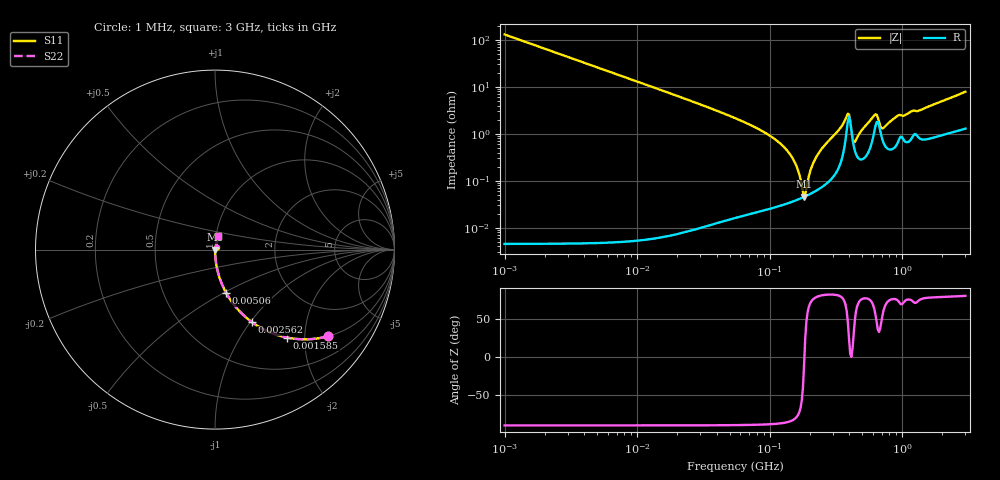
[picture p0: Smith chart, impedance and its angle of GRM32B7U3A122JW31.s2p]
!Murata Part Number: GRM32B7U3A122JW31
!These Parameters are Measured in Series Mode Connection
!Data Generated on Mar 30, 2021
!  o--ll--o
!Port1  Port2
!  o------o
!Operation Temp=25[degC], DC Bias Voltage=0[V]
!Freq. Start=1000[kHz] Stop=3[GHz] 401[Steps]
# Hz S RI R 50
!Freq.(Hz) S11(Real) S11(Imag) S21(Real) S21(Imag) S12(Real) S12(Imag) S22(Real) S22(Imag)
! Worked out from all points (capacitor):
!   401 points, 1 MHz to 3 GHz, reference 50 ohm
!   read as one part in series: C = 1.22 nF near 1.041 MHz
!   lowest |Z| = 46.1 mohm at 182 MHz (marker M1)
!   series resonance near 182.9 MHz, so ESL is about 620 pH
!   S11 on the Smith chart (normalised r, x): 1 MHz: 1.00, -2.60; 1.585 MHz: 1.00, -1.64; 2.562 MHz: 1.00, -1.02; 5.06 MHz: 1.00, -0.51; 3 GHz: 1.03, +0.16
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1000000  0.6289 -0.4831  0.3711 0.4831  0.3711 0.4831  0.6289 -0.4831
1584654  0.4029 -0.4904  0.5971 0.4904  0.5971 0.4904  0.4029 -0.4904
2561897  0.2052 -0.4038  0.7948 0.4038  0.7948 0.4038  0.2052 -0.4038
3823119  0.1038 -0.305  0.8962 0.305  0.8962 0.305  0.1038 -0.305
5059610  0.062 -0.2411  0.938 0.2411  0.938 0.2411  0.062 -0.2411
1.461624e7  0.00783 -0.0878  0.9922 0.0878  0.9922 0.0878  0.00783 -0.0878
5.477226e7  0.000629 -0.0216  0.9994 0.0216  0.9994 0.0216  0.000629 -0.0216
9.402997e7  0.000346 -0.0102  0.9997 0.0102  0.9997 0.0102  0.000346 -0.0102
1.295243e8  0.00034 -0.00508  0.9997 0.00508  0.9997 0.00508  0.00034 -0.00508
1.550909e8  0.000382 -0.00241  0.9996 0.00241  0.9996 0.00241  0.000382 -0.00241
1.820241e8  0.000454 -7.37e-05  0.9995 7.37e-05  0.9995 7.37e-05  0.000454 -7.37e-05
1.894586e8  0.000479 0.000518  0.9995 -0.000518  0.9995 -0.000518  0.000479 0.000518
2.094008e8  0.000555 0.00203  0.9994 -0.00203  0.9994 -0.00203  0.000555 0.00203
2.408952e8  0.000714 0.00429  0.9993 -0.00429  0.9993 -0.00429  0.000714 0.00429
3.817355e8  0.0122 0.0203  0.9878 -0.0203  0.9878 -0.0203  0.0122 0.0203
3.973271e8  0.0231 0.00982  0.9769 -0.00982  0.9769 -0.00982  0.0231 0.00982
4.219165e8  0.00781 0.00146  0.9922 -0.00146  0.9922 -0.00146  0.00781 0.00146
4.391493e8  0.00443 0.00493  0.9956 -0.00493  0.9956 -0.00493  0.00443 0.00493
6.171487e8  0.0117 0.0216  0.9883 -0.0216  0.9883 -0.0216  0.0117 0.0216
7.099691e8  0.00755 0.0104  0.9924 -0.0104  0.9924 -0.0104  0.00755 0.0104
8.005644e8  0.00492 0.0169  0.9951 -0.0169  0.9951 -0.0169  0.00492 0.0169
3e9  0.0185 0.0752  0.9815 -0.0752  0.9815 -0.0752  0.0185 0.0752
